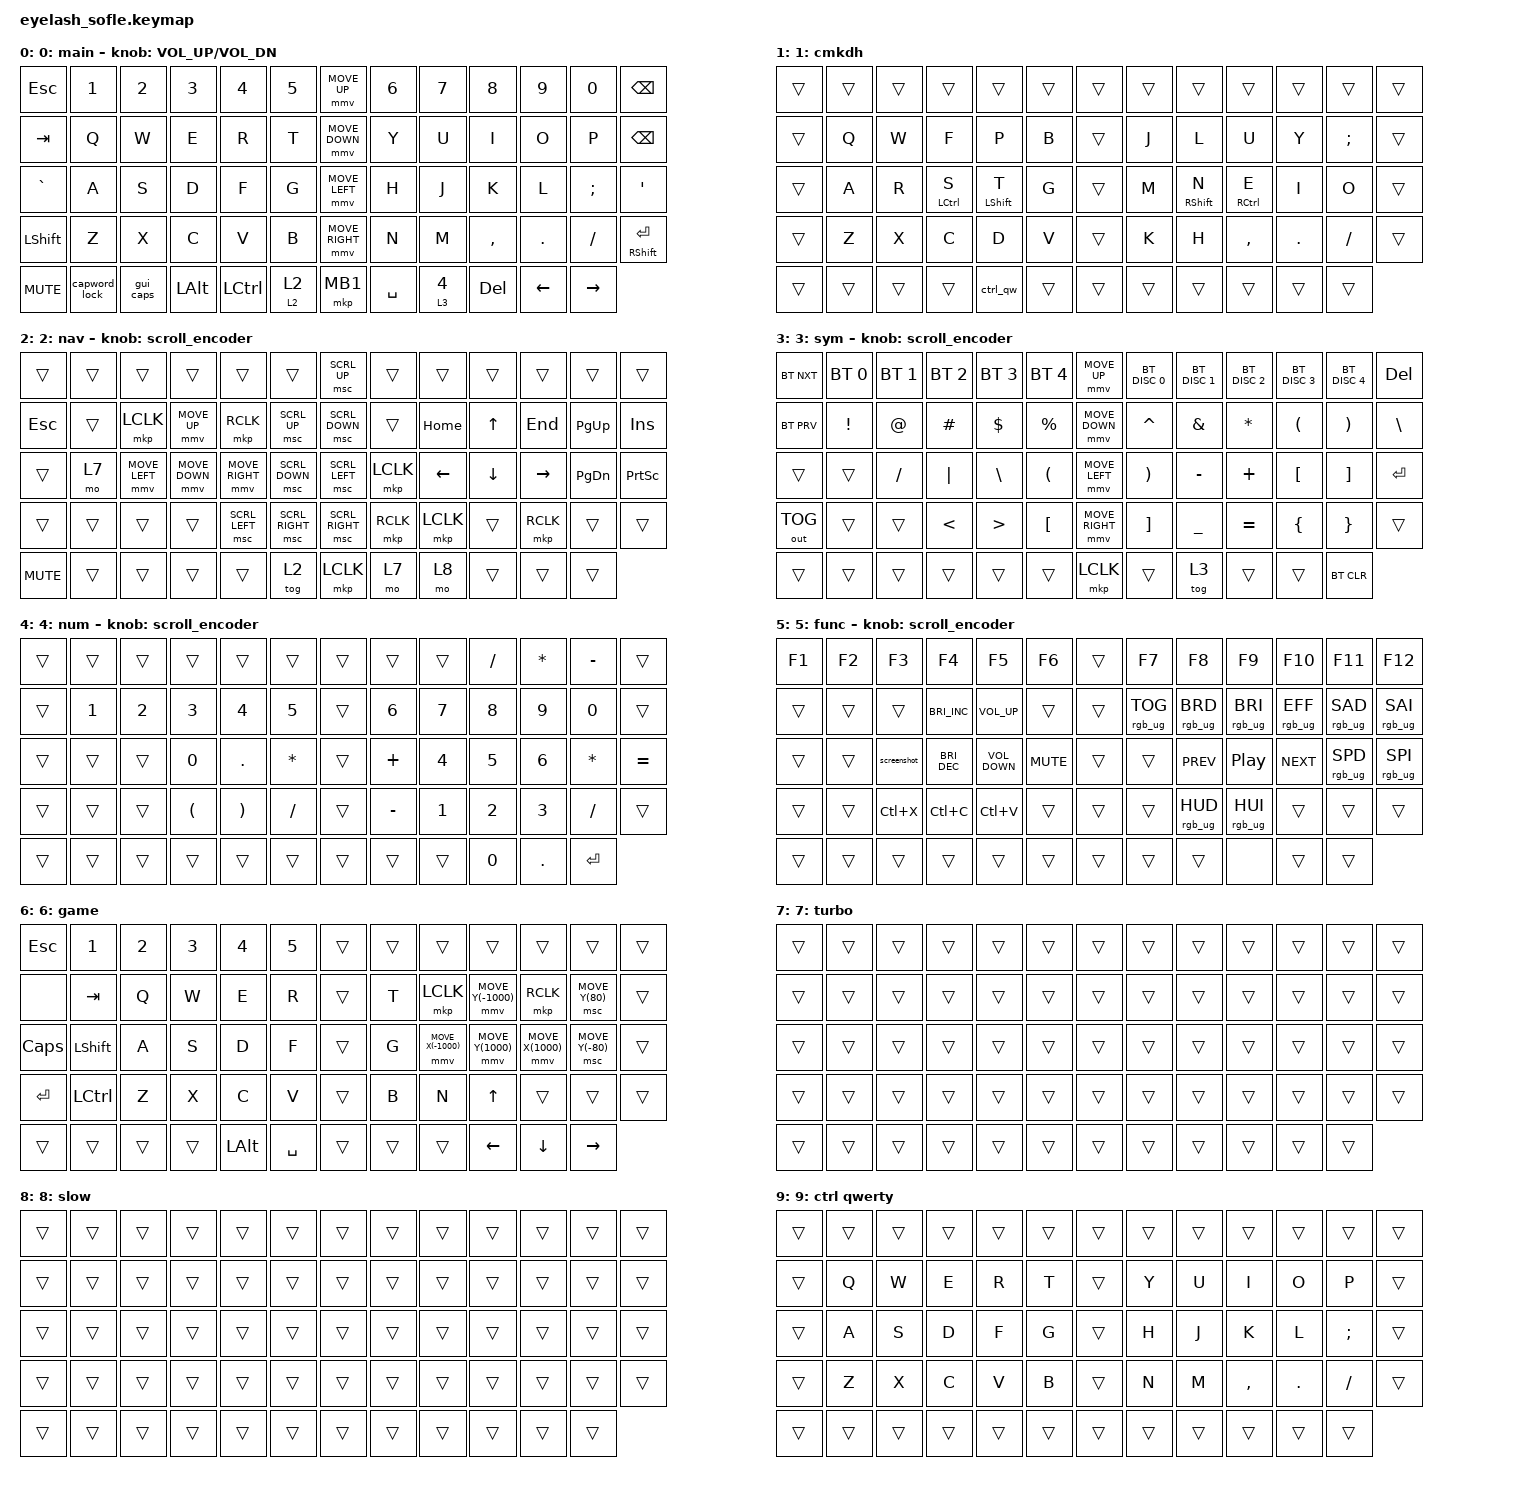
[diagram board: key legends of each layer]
#define ZMK_POINTING_DEFAULT_MOVE_VAL 600
#define ZMK_POINTING_DEFAULT_SCRL_VAL 160  // 10 x16: smooth scrolling sends 1/16-notch steps

#include <input/processors.dtsi>
#include <zephyr/dt-bindings/input/input-event-codes.h>
#include <behaviors.dtsi>
#include <behaviors/num_word.dtsi>
#include <dt-bindings/zmk/bt.h>
#include <dt-bindings/zmk/keys.h>
#include <dt-bindings/zmk/outputs.h>
#include <dt-bindings/zmk/pointing.h>
#include <dt-bindings/zmk/rgb.h>

&mmv_input_listener {
    input-processors = <&zip_xy_scaler 2 1>;
    turbo {
        layers = <7>;
        input-processors = <&zip_xy_scaler 4 1>;
    };
    slow {
        layers = <8>;
        input-processors = <&zip_xy_scaler 1 2>;
    };
};

&msc_input_listener { input-processors = <&zip_scroll_scaler 2 1>; };

&msc {
    acceleration-exponent = <1>;      // 0
    time-to-max-speed-ms = <100>;       // 300
    delay-ms = <0>;                   // 0
};

&mmv {
    trigger-period-ms = <16>;
    time-to-max-speed-ms = <500>;
    acceleration-exponent = <2>;      // slow start for precise taps, then speeds up
};

&soft_off { hold-time-ms = <2000>; };

/ {
    scroll_encoder: scroll_encoder {
        compatible = "zmk,behavior-sensor-rotate";
        #sensor-binding-cells = <0>;
        bindings = <&msc SCRL_DOWN>, <&msc SCRL_UP>;

        tap-ms = <100>;
    };

    mo_to: mo_to {
        compatible = "zmk,behavior-hold-tap";
        label = "momentary/to layer";
        bindings = <&mo>, <&tog>;

        #binding-cells = <2>;
        tapping-term-ms = <200>;
    };

    // hold = momentary layer, tap = num word (layer stays on until a non-number key)
    mo_nw: mo_nw {
        compatible = "zmk,behavior-hold-tap";
        label = "momentary/num word";
        bindings = <&mo>, <&num_word>;

        #binding-cells = <2>;
        tapping-term-ms = <200>;
    };

    // home row mods: hold only fires with a key on the other hand (or a thumb)
    hml: hml {
        compatible = "zmk,behavior-hold-tap";
        label = "HOME_ROW_MOD_LEFT";
        bindings = <&kp>, <&kp>;

        #binding-cells = <2>;
        flavor = "balanced";
        tapping-term-ms = <200>;
        quick-tap-ms = <175>;
        require-prior-idle-ms = <100>;
        hold-trigger-key-positions = <7 8 9 10 11 12 20 21 22 23 24 25 33 34 35 36 37 38 46 47 48 49 50 51 52 53 54 55 56 57 58 59 60 61 62 63>;
        hold-trigger-on-release;
    };

    hmr: hmr {
        compatible = "zmk,behavior-hold-tap";
        label = "HOME_ROW_MOD_RIGHT";
        bindings = <&kp>, <&kp>;

        #binding-cells = <2>;
        flavor = "balanced";
        tapping-term-ms = <200>;
        quick-tap-ms = <175>;
        require-prior-idle-ms = <100>;
        hold-trigger-key-positions = <0 1 2 3 4 5 13 14 15 16 17 18 26 27 28 29 30 31 39 40 41 42 43 44 52 53 54 55 56 57 58 59 60 61 62 63>;
        hold-trigger-on-release;
    };

    // home row shift: same as hml/hmr but with a longer idle check to avoid accidental capitals
    hsl: hsl {
        compatible = "zmk,behavior-hold-tap";
        label = "HOME_ROW_SHIFT_LEFT";
        bindings = <&kp>, <&kp>;

        #binding-cells = <2>;
        flavor = "balanced";
        tapping-term-ms = <200>;
        quick-tap-ms = <175>;
        require-prior-idle-ms = <150>;
        hold-trigger-key-positions = <7 8 9 10 11 12 20 21 22 23 24 25 33 34 35 36 37 38 46 47 48 49 50 51 52 53 54 55 56 57 58 59 60 61 62 63>;
        hold-trigger-on-release;
    };

    hsr: hsr {
        compatible = "zmk,behavior-hold-tap";
        label = "HOME_ROW_SHIFT_RIGHT";
        bindings = <&kp>, <&kp>;

        #binding-cells = <2>;
        flavor = "balanced";
        tapping-term-ms = <200>;
        quick-tap-ms = <175>;
        require-prior-idle-ms = <150>;
        hold-trigger-key-positions = <0 1 2 3 4 5 13 14 15 16 17 18 26 27 28 29 30 31 39 40 41 42 43 44 52 53 54 55 56 57 58 59 60 61 62 63>;
        hold-trigger-on-release;
    };

    capword_lock: capword_lock {
        compatible = "zmk,behavior-tap-dance";
        label = "CAPWORD_LOCK";
        #binding-cells = <0>;
        bindings = <&caps_word>, <&lock>;
    };

    gui_caps: gui_caps {
        compatible = "zmk,behavior-tap-dance";
        label = "GUI_CAPS";
        #binding-cells = <0>;
        bindings = <&kp LEFT_GUI>, <&kp CAPS>;
    };

    behaviors {
    };

    combos {
        compatible = "zmk,combos";

        layer_reset {
            bindings = <&to 0>;
            key-positions = <57 59>;
        };

        func {
            bindings = <&tog 5>;
            key-positions = <60 61>;
        };

        arrow {
            bindings = <&tog 2>;
            key-positions = <34 35 36>;
            layers = <0>;
        };

        game {
            bindings = <&tog 6>;
            key-positions = <28 29 30>;
            layers = <0>;
        };

        cmkdh {
            bindings = <&tog 1>;
            key-positions = <56 60>;
            layers = <0 1>;
        };

        // space + right pinky home key (; on qwerty, O on colemak-dh) = enter
        enter {
            bindings = <&kp ENTER>;
            key-positions = <59 37>;
            layers = <0 1 9>;
            require-prior-idle-ms = <150>;
        };

        // C + V = Win+V (clipboard history)
        clip_qwerty {
            bindings = <&kp LG(V)>;
            key-positions = <42 43>;
            layers = <0>;
            require-prior-idle-ms = <150>;
        };

        clip_cmkdh {
            bindings = <&kp LG(V)>;
            key-positions = <42 44>;
            layers = <1>;
            require-prior-idle-ms = <150>;
        };
    };

    macros {
        SHIFT_MCLK: SHIFT_MCLK {
            compatible = "zmk,behavior-macro";
            #binding-cells = <0>;
            bindings =
                <&macro_press>,
                <&kp LEFT_SHIFT>,
                <&macro_press>,
                <&mkp MB3>,
                <&macro_pause_for_release>,
                <&macro_release>,
                <&kp LEFT_SHIFT &mkp MB3>;

            label = "SHIFT_MCLK";
        };

        screenshot: screenshot {
            compatible = "zmk,behavior-macro";
            #binding-cells = <0>;
            bindings =
                <&macro_press>,
                <&kp LEFT_GUI &kp LEFT_SHIFT &kp S>,
                <&macro_pause_for_release>,
                <&macro_release>,
                <&kp LEFT_GUI &kp LEFT_SHIFT &kp S>;

            label = "SCREENSHOT";
        };

        lock: lock {
            compatible = "zmk,behavior-macro";
            #binding-cells = <0>;
            bindings =
                <&macro_press>,
                <&kp LEFT_GUI &kp L>,
                <&macro_pause_for_release>,
                <&macro_release>,
                <&kp LEFT_GUI &kp L>;

            label = "LOCK";
        };

        // hold ctrl with qwerty letter positions (for cmkdh layer)
        ctrl_qw: ctrl_qw {
            compatible = "zmk,behavior-macro";
            #binding-cells = <0>;
            wait-ms = <0>;
            tap-ms = <0>;
            bindings =
                <&macro_press>,
                <&mo 9 &kp LCTRL>,
                <&macro_pause_for_release>,
                <&macro_release>,
                <&mo 9 &kp LCTRL>;

            label = "CTRL_QWERTY";
        };
    };

    keymap {
        compatible = "zmk,keymap";

        layer_main {
            bindings = <
&kp ESC         &kp N1         &kp N2        &kp N3        &kp N4     &kp N5        &mmv MOVE_UP     &kp N6     &kp N7      &kp N8      &kp N9    &kp N0     &kp BACKSPACE
&kp TAB         &kp Q          &kp W         &kp E         &kp R      &kp T         &mmv MOVE_DOWN   &kp Y      &kp U       &kp I       &kp O     &kp P      &kp BACKSPACE
&kp GRAVE       &kp A          &kp S         &kp D         &kp F      &kp G         &mmv MOVE_LEFT   &kp H      &kp J       &kp K       &kp L     &kp SEMI   &kp APOS
&kp LSHFT       &kp Z         &kp X         &kp C         &kp V      &kp B         &mmv MOVE_RIGHT  &kp N      &kp M       &kp COMMA   &kp DOT   &kp FSLH   &mt RSHIFT ENTER
&kp C_MUTE      &capword_lock  &gui_caps     &kp LEFT_ALT  &kp LCTRL  &mo_to 2 2    &mkp MB1         &kp SPACE  &mo_nw 3 4  &kp DELETE  &kp LEFT  &kp RIGHT
            >;

            sensor-bindings = <&inc_dec_kp C_VOLUME_UP C_VOL_DN>;
            display-name = "0: main";
        };

        layer_cmkdh {
            bindings = <
&trans  &trans  &trans  &trans          &trans          &trans  &trans  &trans  &trans          &trans          &trans     &trans     &trans
&trans  &kp Q   &kp W   &kp F           &kp P           &kp B   &trans  &kp J   &kp L           &kp U           &kp Y      &kp SEMI   &trans
&trans  &kp A   &kp R   &hml LCTRL S    &hsl LSHFT T    &kp G   &trans  &kp M   &hsr RSHFT N    &hmr RCTRL E    &kp I      &kp O      &trans
&trans  &kp Z   &kp X   &kp C           &kp D           &kp V   &trans  &kp K   &kp H           &kp COMMA       &kp DOT    &kp FSLH   &trans
&trans  &trans  &trans  &trans          &ctrl_qw        &trans  &trans  &trans  &trans          &trans          &trans     &trans
            >;

            display-name = "1: cmkdh";
        };

        layer_nav {
            bindings = <
&trans      &trans  &trans          &trans          &trans           &trans             &msc SCRL_UP     &trans     &trans     &trans          &trans          &trans           &trans
&kp ESC     &trans  &mkp LCLK       &mmv MOVE_UP    &mkp RCLK        &msc SCRL_UP       &msc SCRL_DOWN   &trans     &kp HOME   &kp UP          &kp END         &kp PAGE_UP      &kp INSERT
&trans      &mo 7   &mmv MOVE_LEFT  &mmv MOVE_DOWN  &mmv MOVE_RIGHT  &msc SCRL_DOWN     &msc SCRL_LEFT   &mkp LCLK  &kp LEFT   &kp DOWN        &kp RIGHT       &kp PAGE_DOWN    &kp PRINTSCREEN
&trans      &trans  &trans          &trans          &msc SCRL_LEFT   &msc SCRL_RIGHT    &msc SCRL_RIGHT  &mkp RCLK  &mkp LCLK  &trans          &mkp RCLK       &trans           &trans
&kp C_MUTE  &trans  &trans          &trans          &trans           &tog 2             &mkp LCLK        &mo 7      &mo 8      &trans          &trans          &trans
            >;

            display-name = "2: nav";
            sensor-bindings = <&scroll_encoder>;
        };

        layer_sym {
            bindings = <
&bt BT_NXT    &bt BT_SEL 0  &bt BT_SEL 1  &bt BT_SEL 2   &bt BT_SEL 3      &bt BT_SEL 4            &mmv MOVE_UP     &bt BT_DISC 0          &bt BT_DISC 1  &bt BT_DISC 2  &bt BT_DISC 3  &bt BT_DISC 4  &kp DELETE
&bt BT_PRV    &kp EXCL      &kp AT        &kp HASH       &kp DOLLAR        &kp PRCNT               &mmv MOVE_DOWN   &kp CARET              &kp AMPS       &kp ASTRK      &kp LPAR       &kp RPAR       &kp BSLH
&trans        &trans        &kp FSLH      &kp PIPE       &kp BSLH          &kp LEFT_PARENTHESIS    &mmv MOVE_LEFT   &kp RIGHT_PARENTHESIS  &kp MINUS      &kp PLUS       &kp LBKT       &kp RBKT       &kp ENTER
&out OUT_TOG  &trans        &trans        &kp LESS_THAN  &kp GREATER_THAN  &kp LEFT_BRACKET        &mmv MOVE_RIGHT  &kp RIGHT_BRACKET      &kp UNDER      &kp EQUAL      &kp LBRC       &kp RBRC       &trans
&trans        &trans        &trans        &trans         &trans            &trans                  &mkp LCLK        &trans                 &tog 3         &trans         &trans         &bt BT_CLR
            >;

            display-name = "3: sym";
            sensor-bindings = <&scroll_encoder>;
        };

        layer_num {
            bindings = <
&trans  &trans  &trans  &trans    &trans      &trans       &trans  &trans     &trans  &kp FSLH  &kp STAR  &kp MINUS  &trans
&trans  &kp N1  &kp N2  &kp N3    &kp N4      &kp N5       &trans  &kp N6     &kp N7  &kp N8    &kp N9    &kp N0     &trans
&trans  &trans  &trans  &kp N0    &kp PERIOD  &kp ASTRK    &trans  &kp PLUS   &kp N4  &kp N5    &kp N6    &kp ASTRK  &kp EQUAL
&trans  &trans  &trans  &kp LPAR  &kp RPAR    &kp SLASH    &trans  &kp MINUS  &kp N1  &kp N2    &kp N3    &kp FSLH   &trans
&trans  &trans  &trans  &trans    &trans      &trans       &trans  &trans     &trans  &kp N0    &kp DOT   &kp RET
            >;

            display-name = "4: num";
            sensor-bindings = <&scroll_encoder>;
        };

        layer_func {
            bindings = <
&kp F1  &kp F2  &kp F3       &kp F4                &kp F5             &kp F6        &trans  &kp F7           &kp F8           &kp F9            &kp F10          &kp F11          &kp F12
&trans  &trans  &trans       &kp C_BRIGHTNESS_INC  &kp C_VOLUME_UP    &trans        &trans  &rgb_ug RGB_TOG  &rgb_ug RGB_BRD  &rgb_ug RGB_BRI   &rgb_ug RGB_EFF  &rgb_ug RGB_SAD  &rgb_ug RGB_SAI
&trans  &trans  &screenshot  &kp C_BRIGHTNESS_DEC  &kp C_VOLUME_DOWN  &kp C_MUTE    &trans  &trans           &kp C_PREV       &kp C_PLAY_PAUSE  &kp C_NEXT       &rgb_ug RGB_SPD  &rgb_ug RGB_SPI
&trans  &trans  &kp LC(X)    &kp LC(C)             &kp LC(V)          &trans        &trans  &trans           &rgb_ug RGB_HUD  &rgb_ug RGB_HUI   &trans           &trans           &trans
&trans  &trans  &trans       &trans                &trans             &trans        &trans  &trans           &trans           &none             &trans           &trans
            >;

            display-name = "5: func";
            sensor-bindings = <&scroll_encoder>;
        };

        layer_game {
            bindings = <
&kp ESC    &kp N1     &kp N2  &kp N3  &kp N4        &kp N5       &trans  &trans  &trans             &trans             &trans            &trans           &trans
&none      &kp TAB    &kp Q   &kp W   &kp E         &kp R        &trans  &kp T   &mkp LCLK          &mmv MOVE_Y(-1000)  &mkp RCLK         &msc MOVE_Y(80)  &trans
&kp CAPS   &kp LSHFT  &kp A   &kp S   &kp D         &kp F        &trans  &kp G   &mmv MOVE_X(-1000)  &mmv MOVE_Y(1000)   &mmv MOVE_X(1000)  &msc MOVE_Y(-80) &trans
&kp ENTER  &kp LCTRL  &kp Z   &kp X   &kp C         &kp V        &trans  &kp B   &kp N              &kp UP             &trans            &trans           &trans
&trans     &trans     &trans  &trans  &kp LEFT_ALT  &kp SPACE    &trans  &trans  &trans             &kp LEFT           &kp DOWN          &kp RIGHT
            >;

            label = "6: game";
        };

        layer_turbo {
            bindings = <
&trans  &trans  &trans  &trans  &trans  &trans  &trans  &trans  &trans  &trans  &trans  &trans  &trans
&trans  &trans  &trans  &trans  &trans  &trans  &trans  &trans  &trans  &trans  &trans  &trans  &trans
&trans  &trans  &trans  &trans  &trans  &trans  &trans  &trans  &trans  &trans  &trans  &trans  &trans
&trans  &trans  &trans  &trans  &trans  &trans  &trans  &trans  &trans  &trans  &trans  &trans  &trans
&trans  &trans  &trans  &trans  &trans  &trans  &trans  &trans  &trans  &trans  &trans  &trans
            >;

            label = "7: turbo";
        };

        layer_slow {
            bindings = <
&trans  &trans  &trans  &trans  &trans  &trans  &trans  &trans  &trans  &trans  &trans  &trans  &trans
&trans  &trans  &trans  &trans  &trans  &trans  &trans  &trans  &trans  &trans  &trans  &trans  &trans
&trans  &trans  &trans  &trans  &trans  &trans  &trans  &trans  &trans  &trans  &trans  &trans  &trans
&trans  &trans  &trans  &trans  &trans  &trans  &trans  &trans  &trans  &trans  &trans  &trans  &trans
&trans  &trans  &trans  &trans  &trans  &trans  &trans  &trans  &trans  &trans  &trans  &trans
            >;

            label = "8: slow";
        };

        layer_ctrl_qwerty {
            bindings = <
&trans  &trans  &trans  &trans  &trans  &trans  &trans  &trans  &trans  &trans     &trans   &trans    &trans
&trans  &kp Q   &kp W   &kp E   &kp R   &kp T   &trans  &kp Y   &kp U   &kp I      &kp O    &kp P     &trans
&trans  &kp A   &kp S   &kp D   &kp F   &kp G   &trans  &kp H   &kp J   &kp K      &kp L    &kp SEMI  &trans
&trans  &kp Z   &kp X   &kp C   &kp V   &kp B   &trans  &kp N   &kp M   &kp COMMA  &kp DOT  &kp FSLH  &trans
&trans  &trans  &trans  &trans  &trans  &trans  &trans  &trans  &trans  &trans     &trans   &trans
            >;

            display-name = "9: ctrl qwerty";
        };
    };
};
